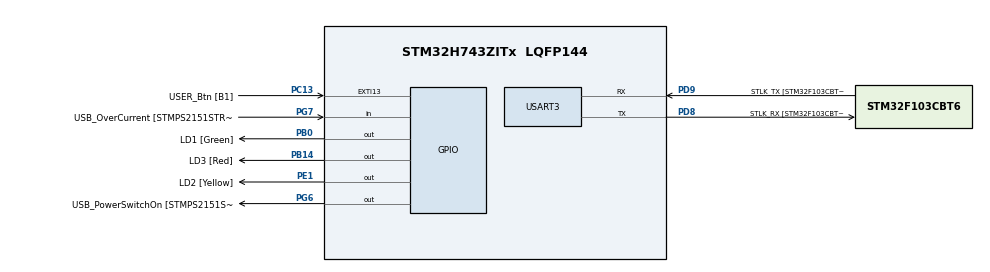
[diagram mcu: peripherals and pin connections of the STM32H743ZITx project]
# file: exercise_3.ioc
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FREERTOS.Tasks01=defaultTask,0,128,StartDefaultTask,Default,NULL,Dynamic,NULL,NULL
FREERTOS.configUSE_NEWLIB_REENTRANT=1
FREERTOS.configUSE_TIMERS=1
Mcu.Family=STM32H7
Mcu.Name=STM32H743ZITx
Mcu.Package=LQFP144
NVIC.EXTI15_10_IRQn=true\:5\:0\:false\:true\:true\:1\:true\:true\:true\:true
NVIC.PriorityGroup=NVIC_PRIORITYGROUP_4
NVIC.TIM1_UP_IRQn=true\:15\:0\:false\:false\:true\:false\:false\:true\:true
NVIC.TimeBase=TIM1_UP_IRQn
NVIC.TimeBaseIP=TIM1
NVIC.USART3_IRQn=true\:5\:0\:false\:false\:true\:true\:true\:true\:true
PA1.GPIO_Label=RMII_REF_CLK
PA1.Signal=ETH_REF_CLK
PA10.GPIO_Label=USB_ID
PA10.Signal=USB_OTG_FS_ID
PA11.GPIO_Label=USB_DM
PA11.Signal=USB_OTG_FS_DM
PA12.GPIO_Label=USB_DP
PA12.Signal=USB_OTG_FS_DP
PA2.GPIO_Label=RMII_MDIO
PA2.Signal=ETH_MDIO
PA7.GPIO_Label=RMII_CRS_DV
PA7.Signal=ETH_CRS_DV
PA8.GPIO_Label=USB_SOF [TP1]
PA8.Signal=USB_OTG_FS_SOF
PA9.GPIO_Label=USB_VBUS
PA9.Signal=USB_OTG_FS_VBUS
PB0.GPIO_Label=LD1 [Green]
PB0.Signal=GPIO_Output
PB13.GPIO_Label=RMII_TXD1
PB13.Signal=ETH_TXD1
PB14.GPIO_Label=LD3 [Red]
PB14.Signal=GPIO_Output
PC1.GPIO_Label=RMII_MDC
PC1.Signal=ETH_MDC
PC13.GPIO_Label=USER_Btn [B1]
PC13.Signal=GPXTI13
PC14-OSC32_IN\ (OSC32_IN).Mode=LSE-External-Oscillator
PC14-OSC32_IN\ (OSC32_IN).Signal=RCC_OSC32_IN
PC15-OSC32_OUT\ (OSC32_OUT).Mode=LSE-External-Oscillator
PC15-OSC32_OUT\ (OSC32_OUT).Signal=RCC_OSC32_OUT
PC4.GPIO_Label=RMII_RXD0
PC4.Signal=ETH_RXD0
PC5.GPIO_Label=RMII_RXD1
PC5.Signal=ETH_RXD1
PD8.GPIO_Label=STLK_RX [STM32F103CBT6_PA3]
PD8.Mode=Asynchronous
PD8.Signal=USART3_TX
PD9.GPIO_Label=STLK_TX [STM32F103CBT6_PA2]
PD9.Mode=Asynchronous
PD9.Signal=USART3_RX
PE1.GPIO_Label=LD2 [Yellow]
PE1.Signal=GPIO_Output
PG11.GPIO_Label=RMII_TX_EN
PG11.Signal=ETH_TX_EN
PG13.GPIO_Label=RMII_TXD0
PG13.Signal=ETH_TXD0
PG6.GPIO_Label=USB_PowerSwitchOn [STMPS2151STR_EN]
PG6.Signal=GPIO_Output
PG7.GPIO_Label=USB_OverCurrent [STMPS2151STR_FAULT]
PG7.Signal=GPIO_Input
PH0-OSC_IN\ (PH0).GPIO_Label=MCO
PH0-OSC_IN\ (PH0).Mode=HSE-External-Clock-Source
PH0-OSC_IN\ (PH0).Signal=RCC_OSC_IN
PH1-OSC_OUT\ (PH1).Signal=RCC_OSC_OUT
ProjectManager.HeapSize=0x200
ProjectManager.StackSize=0x400
ProjectManager.TargetToolchain=STM32CubeIDE
RCC.48MHZClocksFreq_Value=24000000
RCC.ADCFreq_Value=16125000
RCC.AHBFreq_Value=216000000
RCC.APB1CLKDivider=RCC_HCLK_DIV4
RCC.APB1Freq_Value=96000000
RCC.APB1TimFreq_Value=108000000
RCC.APB2CLKDivider=RCC_HCLK_DIV2
RCC.APB2Freq_Value=96000000
RCC.APB2TimFreq_Value=216000000
RCC.APB3Freq_Value=96000000
RCC.APB4Freq_Value=96000000
RCC.CortexFreq_Value=96000000
RCC.DIVM1=1
RCC.DIVN1=24
RCC.DIVQ1=4
RCC.HCLKFreq_Value=96000000
RCC.HSE_VALUE=8000000
RCC.HSI_VALUE=64000000
RCC.PLLM=25
RCC.PLLMUL=RCC_PLL_MUL9
RCC.PLLN=432
RCC.PLLQ=9
RCC.PLLSourceVirtual=RCC_PLLSOURCE_HSE
RCC.PRESCALERUSB=RCC_USBCLKSOURCE_PLL_DIV1_5
RCC.PWR_Regulator_Voltage_Scale=PWR_REGULATOR_VOLTAGE_SCALE1
RCC.ProductRev=revV
RCC.SYSCLKFreq_VALUE=96000000
RCC.SYSCLKSource=RCC_SYSCLKSOURCE_PLLCLK
RCC.SYSCLKSourceVirtual=RCC_SYSCLKSOURCE_PLLCLK
RCC.USBFreq_Value=48000000
RCC.VCOOutputFreq_Value=432000000
USART3.FIFOMode=FIFOMODE_ENABLE
USART3.VirtualMode-Asynchronous=VM_ASYNC
VP_FREERTOS_VS_CMSIS_V1.Mode=CMSIS_V1
VP_SYS_VS_tim1.Mode=TIM1
board=NUCLEO-H743ZI

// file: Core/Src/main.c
/* USER CODE BEGIN Header */
/**
  ******************************************************************************
  * @file           : main.c
  * @brief          : Main program body
  ******************************************************************************
  * @attention
  *
  * Copyright (c) 2025 STMicroelectronics.
  * All rights reserved.
  *
  * This software is licensed under terms that can be found in the LICENSE file
  * in the root directory of this software component.
  * If no LICENSE file comes with this software, it is provided AS-IS.
  *
  ******************************************************************************
  */
/* USER CODE END Header */
#include "main.h"
#include "cmsis_os.h"

/* USER CODE BEGIN Includes */
#include "stm32h7xx_ll_usart.h"
#include "semphr.h"
#include "timers.h"

#include "string.h"

/* USER CODE END Includes */

osThreadId defaultTaskHandle;
/* USER CODE BEGIN PV */

xSemaphoreHandle xEvent_ButtonISR;
xSemaphoreHandle xEvent_UARTfromTimer;
xSemaphoreHandle xEvent_UARTrxISR;

osThreadId UARTtxTaskHandle;
osThreadId UARTrxTaskHandle;
osThreadId ButtonTaskHandle;

TimerHandle_t xUARTtxTimer;
TimerHandle_t xBtnPressedTimer;

// Queue to send commands from UART RX task to LED control task
QueueHandle_t xLEDCommandQueue;
// Queue to pass raw strings from ISR to parser task
QueueHandle_t xRawCommandQueue;
QueueHandle_t xUARTtxQueue;

typedef enum {
	OFF = 0,
	ON = 1,
	TOGGLE = 2
} LED_Acction_t;

// Command structure to pass between tasks
typedef struct {
	GPIO_TypeDef* led_port;
    uint32_t led_pin;
    LED_Acction_t led_action;
} LED_Command_t;

/* USER CODE END PV */

void SystemClock_Config(void);
static void MX_GPIO_Init(void);
static void MX_USART3_UART_Init(void);
void StartDefaultTask(void const * argument);

static void MX_NVIC_Init(void);
/* USER CODE BEGIN PFP */

void StartUARTtxTask(void const * argument);
void StartUARTrxTask(void const * argument);

void StartButtonTask(void const * argument);

void CommandParserTask(void const * argument);
void LEDControlTask(void const * argument);

void prvUARTTimerCallback(TimerHandle_t xTimer);
void prvBtnPressedTimerCallback(TimerHandle_t xTimer);

/* USER CODE END PFP */

int main(void)
{

  /* MCU Configuration--------------------------------------------------------*/

  /* Reset of all peripherals, Initializes the Flash interface and the Systick. */
  HAL_Init();

  /* Configure the system clock */
  SystemClock_Config();

  /* Initialize all configured peripherals */
  MX_GPIO_Init();
  MX_USART3_UART_Init();

  /* Initialize interrupts */
  MX_NVIC_Init();

  /* USER CODE BEGIN RTOS_SEMAPHORES */
  /* add semaphores, ... */

  xEvent_ButtonISR = xSemaphoreCreateBinary();
  xEvent_UARTfromTimer = xSemaphoreCreateBinary();
  xEvent_UARTrxISR = xSemaphoreCreateBinary();

  /* USER CODE END RTOS_SEMAPHORES */

  /* USER CODE BEGIN RTOS_TIMERS */
  /* start timers, add new ones, ... */

  xUARTtxTimer = 	xTimerCreate("UART timer",
								  pdMS_TO_TICKS(100),
								  pdTRUE,	// Auto-reload
								  NULL,
								  prvUARTTimerCallback);

  xBtnPressedTimer = xTimerCreate("Button timer",
								  pdMS_TO_TICKS(10000),
								  pdFALSE,	// One-shot
								  NULL,
								  prvBtnPressedTimerCallback);

  /* USER CODE END RTOS_TIMERS */

  /* USER CODE BEGIN RTOS_QUEUES */
  /* add queues, ... */

  // Create queue for raw strings from ISR (holds char arrays)
  xRawCommandQueue = xQueueCreate(5, 20);  // 5 strings, 20 bytes each

  // Create queue for parsed LED commands
  xLEDCommandQueue = xQueueCreate(5, sizeof(LED_Command_t));

  xUARTtxQueue = xQueueCreate(5, 30);

  /* USER CODE END RTOS_QUEUES */

  /* Create the thread(s) */
  /* definition and creation of defaultTask */
  osThreadDef(defaultTask, StartDefaultTask, osPriorityNormal, 0, 128);
  defaultTaskHandle = osThreadCreate(osThread(defaultTask), NULL);

  /* USER CODE BEGIN RTOS_THREADS */
  /* add threads, ... */

  osThreadDef(UARTtxTask, StartUARTtxTask, osPriorityAboveNormal, 0, 128);
  UARTtxTaskHandle = osThreadCreate(osThread(UARTtxTask), NULL);

//  osThreadDef(UARTrxTask, StartUARTrxTask, osPriorityAboveNormal, 0, 128);
//  UARTrxTaskHandle = osThreadCreate(osThread(UARTrxTask), NULL);

  osThreadDef(BtnTask, StartButtonTask, osPriorityAboveNormal, 0, 128);
  ButtonTaskHandle = osThreadCreate(osThread(BtnTask), NULL);

  xTaskCreate(CommandParserTask, "Parser", 256, NULL, 3, NULL);  // Higher priority
  xTaskCreate(LEDControlTask, "LEDCtrl", 128, NULL, 2, NULL);

  /* USER CODE END RTOS_THREADS */

  /* Start scheduler */
  osKernelStart();

  /* We should never get here as control is now taken by the scheduler */
  /* Infinite loop */
  while (1)
  {

  }
}

void SystemClock_Config(void)
{
  LL_FLASH_SetLatency(LL_FLASH_LATENCY_1);
  while(LL_FLASH_GetLatency()!= LL_FLASH_LATENCY_1)
  {
  }
  LL_PWR_ConfigSupply(LL_PWR_LDO_SUPPLY);
  LL_PWR_SetRegulVoltageScaling(LL_PWR_REGU_VOLTAGE_SCALE1);
  LL_RCC_HSE_EnableBypass();
  LL_RCC_HSE_Enable();

   /* Wait till HSE is ready */
  while(LL_RCC_HSE_IsReady() != 1)
  {

  }
  LL_RCC_PLL_SetSource(LL_RCC_PLLSOURCE_HSE);
  LL_RCC_PLL1P_Enable();
  LL_RCC_PLL1_SetVCOInputRange(LL_RCC_PLLINPUTRANGE_8_16);
  LL_RCC_PLL1_SetVCOOutputRange(LL_RCC_PLLVCORANGE_WIDE);
  LL_RCC_PLL1_SetM(1);
  LL_RCC_PLL1_SetN(24);
  LL_RCC_PLL1_SetP(2);
  LL_RCC_PLL1_SetQ(4);
  LL_RCC_PLL1_SetR(2);
  LL_RCC_PLL1_Enable();

   /* Wait till PLL is ready */
  while(LL_RCC_PLL1_IsReady() != 1)
  {
  }

   /* Intermediate AHB prescaler 2 when target frequency clock is higher than 80 MHz */
   LL_RCC_SetAHBPrescaler(LL_RCC_AHB_DIV_2);

  LL_RCC_SetSysClkSource(LL_RCC_SYS_CLKSOURCE_PLL1);

   /* Wait till System clock is ready */
  while(LL_RCC_GetSysClkSource() != LL_RCC_SYS_CLKSOURCE_STATUS_PLL1)
  {

  }
  LL_RCC_SetSysPrescaler(LL_RCC_SYSCLK_DIV_1);
  LL_RCC_SetAHBPrescaler(LL_RCC_AHB_DIV_1);
  LL_RCC_SetAPB1Prescaler(LL_RCC_APB1_DIV_1);
  LL_RCC_SetAPB2Prescaler(LL_RCC_APB2_DIV_1);
  LL_RCC_SetAPB3Prescaler(LL_RCC_APB3_DIV_1);
  LL_RCC_SetAPB4Prescaler(LL_RCC_APB4_DIV_1);
  LL_SetSystemCoreClock(96000000);

   /* Update the time base */
  if (HAL_InitTick (TICK_INT_PRIORITY) != HAL_OK)
  {
    Error_Handler();
  }
}

/**
  * @brief NVIC Configuration.
  * @retval None
  */
static void MX_NVIC_Init(void)
{
  /* EXTI15_10_IRQn interrupt configuration */
  NVIC_SetPriority(EXTI15_10_IRQn, NVIC_EncodePriority(NVIC_GetPriorityGrouping(),5, 0));
  NVIC_EnableIRQ(EXTI15_10_IRQn);
}

static void MX_USART3_UART_Init(void)
{

  LL_USART_InitTypeDef USART_InitStruct = {0};

  LL_GPIO_InitTypeDef GPIO_InitStruct = {0};

  LL_RCC_SetUSARTClockSource(LL_RCC_USART234578_CLKSOURCE_PCLK1);

  /* Peripheral clock enable */
  LL_APB1_GRP1_EnableClock(LL_APB1_GRP1_PERIPH_USART3);

  LL_AHB4_GRP1_EnableClock(LL_AHB4_GRP1_PERIPH_GPIOD);
  /**USART3 GPIO Configuration
  PD8   ------> USART3_TX
  PD9   ------> USART3_RX
  */
  GPIO_InitStruct.Pin = STLK_RX_Pin|STLK_TX_Pin;
  GPIO_InitStruct.Mode = LL_GPIO_MODE_ALTERNATE;
  GPIO_InitStruct.Speed = LL_GPIO_SPEED_FREQ_LOW;
  GPIO_InitStruct.OutputType = LL_GPIO_OUTPUT_PUSHPULL;
  GPIO_InitStruct.Pull = LL_GPIO_PULL_NO;
  GPIO_InitStruct.Alternate = LL_GPIO_AF_7;
  LL_GPIO_Init(GPIOD, &GPIO_InitStruct);

  /* USART3 interrupt Init */
  NVIC_SetPriority(USART3_IRQn, NVIC_EncodePriority(NVIC_GetPriorityGrouping(),5, 0));
  NVIC_EnableIRQ(USART3_IRQn);

  USART_InitStruct.PrescalerValue = LL_USART_PRESCALER_DIV1;
  USART_InitStruct.BaudRate = 115200;
  USART_InitStruct.DataWidth = LL_USART_DATAWIDTH_8B;
  USART_InitStruct.StopBits = LL_USART_STOPBITS_1;
  USART_InitStruct.Parity = LL_USART_PARITY_NONE;
  USART_InitStruct.TransferDirection = LL_USART_DIRECTION_TX_RX;
  USART_InitStruct.HardwareFlowControl = LL_USART_HWCONTROL_NONE;
  USART_InitStruct.OverSampling = LL_USART_OVERSAMPLING_16;
  LL_USART_Init(USART3, &USART_InitStruct);
  LL_USART_SetTXFIFOThreshold(USART3, LL_USART_FIFOTHRESHOLD_1_8);
  LL_USART_SetRXFIFOThreshold(USART3, LL_USART_FIFOTHRESHOLD_1_8);
  LL_USART_EnableFIFO(USART3);
  LL_USART_ConfigAsyncMode(USART3);

  LL_USART_Enable(USART3);

  /* Polling USART3 initialisation */
  while((!(LL_USART_IsActiveFlag_TEACK(USART3))) || (!(LL_USART_IsActiveFlag_REACK(USART3))))
  {
  }
  /* USER CODE BEGIN USART3_Init 2 */

  LL_USART_EnableIT_RXNE_RXFNE(USART3);

  /* USER CODE END USART3_Init 2 */

}

static void MX_GPIO_Init(void)
{
  LL_EXTI_InitTypeDef EXTI_InitStruct = {0};
  LL_GPIO_InitTypeDef GPIO_InitStruct = {0};

  /* GPIO Ports Clock Enable */
  LL_AHB4_GRP1_EnableClock(LL_AHB4_GRP1_PERIPH_GPIOC);
  LL_AHB4_GRP1_EnableClock(LL_AHB4_GRP1_PERIPH_GPIOH);
  LL_AHB4_GRP1_EnableClock(LL_AHB4_GRP1_PERIPH_GPIOA);
  LL_AHB4_GRP1_EnableClock(LL_AHB4_GRP1_PERIPH_GPIOB);
  LL_AHB4_GRP1_EnableClock(LL_AHB4_GRP1_PERIPH_GPIOD);
  LL_AHB4_GRP1_EnableClock(LL_AHB4_GRP1_PERIPH_GPIOG);
  LL_AHB4_GRP1_EnableClock(LL_AHB4_GRP1_PERIPH_GPIOE);

  /**/
  LL_GPIO_ResetOutputPin(GPIOB, LD1_Pin|LD3_Pin);

  /**/
  LL_GPIO_ResetOutputPin(USB_PowerSwitchOn_GPIO_Port, USB_PowerSwitchOn_Pin);

  /**/
  LL_GPIO_ResetOutputPin(LD2_GPIO_Port, LD2_Pin);

  /**/
  LL_SYSCFG_SetEXTISource(LL_SYSCFG_EXTI_PORTC, LL_SYSCFG_EXTI_LINE13);

  /**/
  EXTI_InitStruct.Line_0_31 = LL_EXTI_LINE_13;
  EXTI_InitStruct.Line_32_63 = LL_EXTI_LINE_NONE;
  EXTI_InitStruct.Line_64_95 = LL_EXTI_LINE_NONE;
  EXTI_InitStruct.LineCommand = ENABLE;
  EXTI_InitStruct.Mode = LL_EXTI_MODE_IT;
  EXTI_InitStruct.Trigger = LL_EXTI_TRIGGER_RISING;
  LL_EXTI_Init(&EXTI_InitStruct);

  /**/
  LL_GPIO_SetPinPull(USER_Btn_GPIO_Port, USER_Btn_Pin, LL_GPIO_PULL_NO);

  /**/
  LL_GPIO_SetPinMode(USER_Btn_GPIO_Port, USER_Btn_Pin, LL_GPIO_MODE_INPUT);

  /**/
  GPIO_InitStruct.Pin = RMII_MDC_Pin|RMII_RXD0_Pin|RMII_RXD1_Pin;
  GPIO_InitStruct.Mode = LL_GPIO_MODE_ALTERNATE;
  GPIO_InitStruct.Speed = LL_GPIO_SPEED_FREQ_LOW;
  GPIO_InitStruct.OutputType = LL_GPIO_OUTPUT_PUSHPULL;
  GPIO_InitStruct.Pull = LL_GPIO_PULL_NO;
  GPIO_InitStruct.Alternate = LL_GPIO_AF_11;
  LL_GPIO_Init(GPIOC, &GPIO_InitStruct);

  /**/
  GPIO_InitStruct.Pin = RMII_REF_CLK_Pin|RMII_MDIO_Pin|RMII_CRS_DV_Pin;
  GPIO_InitStruct.Mode = LL_GPIO_MODE_ALTERNATE;
  GPIO_InitStruct.Speed = LL_GPIO_SPEED_FREQ_LOW;
  GPIO_InitStruct.OutputType = LL_GPIO_OUTPUT_PUSHPULL;
  GPIO_InitStruct.Pull = LL_GPIO_PULL_NO;
  GPIO_InitStruct.Alternate = LL_GPIO_AF_11;
  LL_GPIO_Init(GPIOA, &GPIO_InitStruct);

  /**/
  GPIO_InitStruct.Pin = LD1_Pin|LD3_Pin;
  GPIO_InitStruct.Mode = LL_GPIO_MODE_OUTPUT;
  GPIO_InitStruct.Speed = LL_GPIO_SPEED_FREQ_LOW;
  GPIO_InitStruct.OutputType = LL_GPIO_OUTPUT_PUSHPULL;
  GPIO_InitStruct.Pull = LL_GPIO_PULL_NO;
  LL_GPIO_Init(GPIOB, &GPIO_InitStruct);

  /**/
  GPIO_InitStruct.Pin = RMII_TXD1_Pin;
  GPIO_InitStruct.Mode = LL_GPIO_MODE_ALTERNATE;
  GPIO_InitStruct.Speed = LL_GPIO_SPEED_FREQ_LOW;
  GPIO_InitStruct.OutputType = LL_GPIO_OUTPUT_PUSHPULL;
  GPIO_InitStruct.Pull = LL_GPIO_PULL_NO;
  GPIO_InitStruct.Alternate = LL_GPIO_AF_11;
  LL_GPIO_Init(RMII_TXD1_GPIO_Port, &GPIO_InitStruct);

  /**/
  GPIO_InitStruct.Pin = USB_PowerSwitchOn_Pin;
  GPIO_InitStruct.Mode = LL_GPIO_MODE_OUTPUT;
  GPIO_InitStruct.Speed = LL_GPIO_SPEED_FREQ_LOW;
  GPIO_InitStruct.OutputType = LL_GPIO_OUTPUT_PUSHPULL;
  GPIO_InitStruct.Pull = LL_GPIO_PULL_NO;
  LL_GPIO_Init(USB_PowerSwitchOn_GPIO_Port, &GPIO_InitStruct);

  /**/
  GPIO_InitStruct.Pin = USB_OverCurrent_Pin;
  GPIO_InitStruct.Mode = LL_GPIO_MODE_INPUT;
  GPIO_InitStruct.Pull = LL_GPIO_PULL_NO;
  LL_GPIO_Init(USB_OverCurrent_GPIO_Port, &GPIO_InitStruct);

  /**/
  GPIO_InitStruct.Pin = USB_SOF_Pin|USB_ID_Pin|USB_DM_Pin|USB_DP_Pin;
  GPIO_InitStruct.Mode = LL_GPIO_MODE_ALTERNATE;
  GPIO_InitStruct.Speed = LL_GPIO_SPEED_FREQ_LOW;
  GPIO_InitStruct.OutputType = LL_GPIO_OUTPUT_PUSHPULL;
  GPIO_InitStruct.Pull = LL_GPIO_PULL_NO;
  GPIO_InitStruct.Alternate = LL_GPIO_AF_10;
  LL_GPIO_Init(GPIOA, &GPIO_InitStruct);

  /**/
  GPIO_InitStruct.Pin = RMII_TX_EN_Pin|RMII_TXD0_Pin;
  GPIO_InitStruct.Mode = LL_GPIO_MODE_ALTERNATE;
  GPIO_InitStruct.Speed = LL_GPIO_SPEED_FREQ_LOW;
  GPIO_InitStruct.OutputType = LL_GPIO_OUTPUT_PUSHPULL;
  GPIO_InitStruct.Pull = LL_GPIO_PULL_NO;
  GPIO_InitStruct.Alternate = LL_GPIO_AF_11;
  LL_GPIO_Init(GPIOG, &GPIO_InitStruct);

  /**/
  GPIO_InitStruct.Pin = LD2_Pin;
  GPIO_InitStruct.Mode = LL_GPIO_MODE_OUTPUT;
  GPIO_InitStruct.Speed = LL_GPIO_SPEED_FREQ_LOW;
  GPIO_InitStruct.OutputType = LL_GPIO_OUTPUT_PUSHPULL;
  GPIO_InitStruct.Pull = LL_GPIO_PULL_NO;
  LL_GPIO_Init(LD2_GPIO_Port, &GPIO_InitStruct);

}

/* USER CODE BEGIN 4 */
void UserButtonCallback(void)
{
	BaseType_t xHigherPriorityTaskWoken = pdTRUE;
	xSemaphoreGiveFromISR(xEvent_ButtonISR, &xHigherPriorityTaskWoken);
	portYIELD_FROM_ISR( xHigherPriorityTaskWoken );
}

void StartButtonTask(void const * argument)
{
	// Task Initialization
//	char local_button_data[30] = "Btn press\n";
	LED_Command_t led_cmd = {
			LD3_GPIO_Port,
			LD3_Pin,
			TOGGLE,
	};

	// Task Loop
	for(;;)
	{
		xSemaphoreTake(xEvent_ButtonISR, portMAX_DELAY);
		for(uint16_t i = 0; i < 100; i++);
		if(HAL_GPIO_ReadPin(USER_Btn_GPIO_Port, USER_Btn_Pin))
		{
			xQueueSend(xLEDCommandQueue, &led_cmd, 0);

			xQueueSend(xUARTtxQueue, "Btn press\n", 0);

			xTimerStart(xUARTtxTimer, portMAX_DELAY);
			xTimerStart(xBtnPressedTimer, portMAX_DELAY);

			xQueueSend(xLEDCommandQueue, &led_cmd, 0);
		}
	}
}

void prvBtnPressedTimerCallback(TimerHandle_t xTimer)
{
	xTimerStop(xUARTtxTimer, portMAX_DELAY);
}

void prvUARTTimerCallback(TimerHandle_t xTimer)
{
	xQueueSend(xUARTtxQueue, "Yello, from UART tx Task!!\n", 0);
}

void StartUARTtxTask(void const * argument)
{
	char txData[30];
	LED_Command_t led_cmd = {
				LD3_GPIO_Port,
				LD3_Pin,
				TOGGLE,
		};

	for(;;)
	{
		xQueueReceive(xUARTtxQueue, &txData, portMAX_DELAY);

		xQueueSend(xLEDCommandQueue, &led_cmd, 0);
		for(uint8_t i = 0; i < strlen(txData); i++)
		{
			LL_USART_TransmitData8(USART3, txData[i]);
			while(!LL_USART_IsActiveFlag_TXE_TXFNF(USART3));
		}
		xQueueSend(xLEDCommandQueue, &led_cmd, 0);
	}
}

char global_rx_data[30];
uint8_t rxFlag = 0, rxBufferCounter = 0, rxMessageLen = 0;

void UARTrxCallback(void)
{
	BaseType_t xHigherPriorityTaskWoken = pdFALSE;

	char local_char = LL_USART_ReceiveData8(USART3);

	if (rxBufferCounter < 30 - 1)
	{
		global_rx_data[rxBufferCounter++] = local_char;
		global_rx_data[rxBufferCounter] = '\0';
	}
	else
	{
		rxBufferCounter = 0;
	}

	if(global_rx_data[rxBufferCounter-1] == '\n')
	{
		global_rx_data[rxBufferCounter-1] = '\0';
		rxMessageLen = rxBufferCounter;
		rxBufferCounter = 0;

		// Send the raw string to parser task
		xQueueSendFromISR(xRawCommandQueue, global_rx_data, &xHigherPriorityTaskWoken);
	}

	portYIELD_FROM_ISR( xHigherPriorityTaskWoken );
}

// Command parser function
uint8_t ParseCommand(char* buffer, LED_Command_t* cmd)
{
    // Simple parser - you can make this more robust
    // Expected format: "led1 on", "led2 off", "led1 toggle"

    if(strncmp(buffer, "led1", 4) == 0) {
        cmd->led_port = LD1_GPIO_Port;
        cmd->led_pin = LD1_Pin;
    }
    else if(strncmp(buffer, "led2", 4) == 0) {
    	cmd->led_port = LD2_GPIO_Port;
		cmd->led_pin = LD2_Pin;
    }
    else {
        return 0;  // Invalid LED
    }

    // Look for action keyword
    if(strstr(buffer, "on") != NULL) {
        cmd->led_action = ON;
    }
    else if(strstr(buffer, "off") != NULL) {
        cmd->led_action  = OFF;
    }
    else if(strstr(buffer, "toggle") != NULL) {
        cmd->led_action  = TOGGLE;
    }
    else {
        return 0;  // Invalid action
    }

    return 1;
}

// Command parser task - processes raw strings into LED commands
void CommandParserTask(void const * argument)
{
    char cmd_string[20];
    LED_Command_t led_cmd;

    for(;;)
    {
        // Wait for raw command string from ISR
        if(xQueueReceive(xRawCommandQueue, cmd_string, portMAX_DELAY) == pdPASS)
        {
            // Parse the command (can be complex logic here)
            if(ParseCommand(cmd_string, &led_cmd))
            {
                // Send parsed command to LED control task
                xQueueSend(xLEDCommandQueue, &led_cmd, 0);
            }
            // Could add error handling, logging, etc. here
        }
    }
}

// LED control task - waits for commands from queue
void LEDControlTask(void const * argument)
{
    LED_Command_t cmd;

    for(;;)
    {
        // Block until a command arrives
        if(xQueueReceive(xLEDCommandQueue, &cmd, portMAX_DELAY) == pdPASS)
        {
            // Perform action
            switch(cmd.led_action)
            {
                case OFF:
                    LL_GPIO_ResetOutputPin(cmd.led_port, cmd.led_pin);
                    break;

                case ON:
                    LL_GPIO_SetOutputPin(cmd.led_port, cmd.led_pin);
                    break;

                case TOGGLE:
                    LL_GPIO_TogglePin(cmd.led_port, cmd.led_pin);
                    break;

                default:
                    break;  // Invalid action
            }
        }
    }
}

/* USER CODE END 4 */

void StartDefaultTask(void const * argument)
{
  for(;;)
  {
    osDelay(1);
  }
}

void HAL_TIM_PeriodElapsedCallback(TIM_HandleTypeDef *htim)
{
  if (htim->Instance == TIM1) {
    HAL_IncTick();
  }
}

void Error_Handler(void)
{
  __disable_irq();
  while (1)
  {
  }
}

/*
 * ˆ AB==01
Startuje akvizicija sa kanala A0, A1 na svakih 1000ms pomocu softverskog tajmera.
Potrebno je implementirati odlozenu obradu prekida (deffered interrupt processing) AD
konvertora, tako sto se rezultat konverzije u prekidnoj rutini upisuje u red sa porukama
(Queue) i obavestava se task xTask1 o prispecu nove poruke putem direktne noti kacije taskova (Direct-to-task noti cation) u vidu grupe dogadaja
Poruka treba da sadrzi informaciju o kanalu koji je ocitan i gornjih 9 bita rezultata AD
konverzije.
Task xTask1 cuva poslednju ocitanu vrednost za svaki kanal.
Task xTask2 implementira odlozenu obradu prekida za UART callback rutinu i na prijem
karaktera '1'-'4' obavestava task xTask1 putem direktne notifkacije taskova (Direct-to-task noti cation) u vidu grupe dogadaja
o kanalu cije ocitane vrednosti rezultata konverzije treba da salje tasku xTask3. Svaki put
kada stigne nova vrednost sa AD konvertora task xTask1 smesta odgovarajuci podatak u
red sa porukama na kojem ceka task xTask3.
Task xTask3 racuna razliku izmedu uzastopnih vrednosti ocitanog kanala i prikazuje na UART-u
 */
